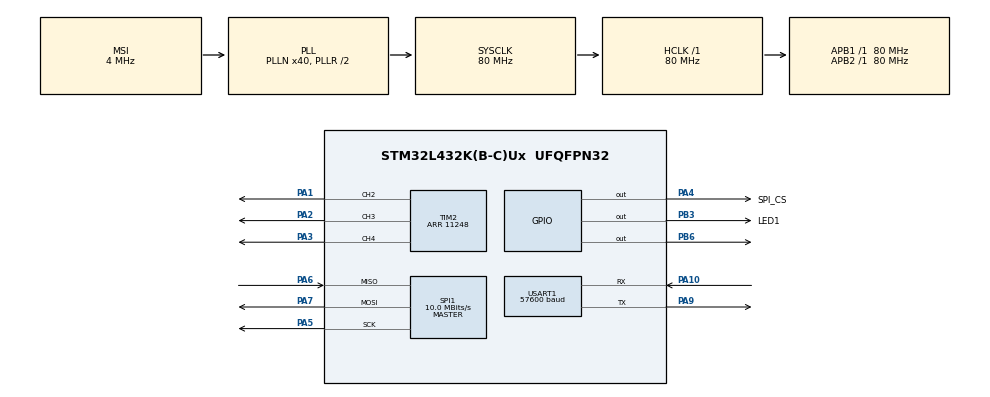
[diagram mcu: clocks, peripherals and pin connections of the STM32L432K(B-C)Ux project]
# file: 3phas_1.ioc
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Dma.Request0=USART1_RX
Dma.Request1=USART1_TX
Dma.Request2=SPI1_RX
Dma.SPI1_RX.2.Direction=DMA_PERIPH_TO_MEMORY
Dma.SPI1_RX.2.Instance=DMA1_Channel2
Dma.SPI1_RX.2.MemDataAlignment=DMA_MDATAALIGN_HALFWORD
Dma.SPI1_RX.2.MemInc=DMA_MINC_ENABLE
Dma.SPI1_RX.2.Mode=DMA_CIRCULAR
Dma.SPI1_RX.2.PeriphDataAlignment=DMA_PDATAALIGN_HALFWORD
Dma.SPI1_RX.2.PeriphInc=DMA_PINC_DISABLE
Dma.SPI1_RX.2.Priority=DMA_PRIORITY_LOW
Dma.USART1_RX.0.Direction=DMA_PERIPH_TO_MEMORY
Dma.USART1_RX.0.Instance=DMA1_Channel5
Dma.USART1_RX.0.MemDataAlignment=DMA_MDATAALIGN_BYTE
Dma.USART1_RX.0.MemInc=DMA_MINC_ENABLE
Dma.USART1_RX.0.Mode=DMA_CIRCULAR
Dma.USART1_RX.0.PeriphDataAlignment=DMA_PDATAALIGN_BYTE
Dma.USART1_RX.0.PeriphInc=DMA_PINC_DISABLE
Dma.USART1_RX.0.Priority=DMA_PRIORITY_LOW
Dma.USART1_TX.1.Direction=DMA_MEMORY_TO_PERIPH
Dma.USART1_TX.1.Instance=DMA1_Channel4
Dma.USART1_TX.1.MemDataAlignment=DMA_MDATAALIGN_BYTE
Dma.USART1_TX.1.MemInc=DMA_MINC_ENABLE
Dma.USART1_TX.1.Mode=DMA_NORMAL
Dma.USART1_TX.1.PeriphDataAlignment=DMA_PDATAALIGN_BYTE
Dma.USART1_TX.1.PeriphInc=DMA_PINC_DISABLE
Dma.USART1_TX.1.Priority=DMA_PRIORITY_LOW
FREERTOS.Tasks01=defaultTask,0,128,StartDefaultTask,Default,NULL,Dynamic,NULL,NULL;comunication,-3,128,StartTask02,Default,NULL,Dynamic,NULL,NULL
Mcu.Family=STM32L4
Mcu.Name=STM32L432K(B-C)Ux
Mcu.Package=UFQFPN32
NVIC.DMA1_Channel2_IRQn=true\:5\:0\:false\:false\:true\:true\:false
NVIC.DMA1_Channel4_IRQn=true\:5\:0\:false\:false\:true\:true\:false
NVIC.DMA1_Channel5_IRQn=true\:5\:0\:false\:false\:true\:true\:false
NVIC.PriorityGroup=NVIC_PRIORITYGROUP_4
NVIC.USART1_IRQn=true\:5\:0\:false\:false\:true\:true\:true
PA1.Signal=S_TIM2_CH2
PA10.Mode=Asynchronous
PA10.Signal=USART1_RX
PA2.Signal=S_TIM2_CH3
PA3.Signal=S_TIM2_CH4
PA4.GPIO_Label=SPI_CS
PA4.Signal=GPIO_Output
PA5.Mode=Full_Duplex_Master
PA5.Signal=SPI1_SCK
PA6.Mode=Full_Duplex_Master
PA6.Signal=SPI1_MISO
PA7.Mode=Full_Duplex_Master
PA7.Signal=SPI1_MOSI
PA9.Mode=Asynchronous
PA9.Signal=USART1_TX
PB3\ (JTDO-TRACESWO).GPIO_Label=LED1
PB3\ (JTDO-TRACESWO).Signal=GPIO_Output
PB6.Signal=GPIO_Output
ProjectManager.HeapSize=0x200
ProjectManager.StackSize=0x400
ProjectManager.TargetToolchain=TrueSTUDIO
RCC.ADCFreq_Value=16000000
RCC.AHBFreq_Value=80000000
RCC.APB1Freq_Value=80000000
RCC.APB1TimFreq_Value=80000000
RCC.APB2Freq_Value=80000000
RCC.APB2TimFreq_Value=80000000
RCC.CortexFreq_Value=80000000
RCC.HCLKFreq_Value=80000000
RCC.HSE_VALUE=8000000
RCC.HSI48_VALUE=48000000
RCC.HSI_VALUE=16000000
RCC.LSE_VALUE=32768
RCC.MSI_VALUE=4000000
RCC.PLLN=40
RCC.SYSCLKFreq_VALUE=80000000
RCC.SYSCLKSource=RCC_SYSCLKSOURCE_PLLCLK
RCC.USBFreq_Value=16000000
RCC.VCOOutputFreq_Value=160000000
SH.S_TIM2_CH2.0=TIM2_CH2,PWM Generation2 CH2
SH.S_TIM2_CH3.0=TIM2_CH3,PWM Generation3 CH3
SH.S_TIM2_CH4.0=TIM2_CH4,PWM Generation4 CH4
SPI1.BaudRatePrescaler=SPI_BAUDRATEPRESCALER_8
SPI1.CalculateBaudRate=10.0 MBits/s
SPI1.DataSize=SPI_DATASIZE_12BIT
SPI1.Direction=SPI_DIRECTION_2LINES
SPI1.Mode=SPI_MODE_MASTER
SPI1.VirtualType=VM_MASTER
TIM2.Channel-PWM\ Generation2\ CH2=TIM_CHANNEL_2
TIM2.Channel-PWM\ Generation3\ CH3=TIM_CHANNEL_3
TIM2.Channel-PWM\ Generation4\ CH4=TIM_CHANNEL_4
TIM2.CounterMode=TIM_COUNTERMODE_CENTERALIGNED2
TIM2.OCFastMode_PWM-PWM\ Generation2\ CH2=TIM_OCFAST_ENABLE
TIM2.OCFastMode_PWM-PWM\ Generation3\ CH3=TIM_OCFAST_ENABLE
TIM2.OCFastMode_PWM-PWM\ Generation4\ CH4=TIM_OCFAST_ENABLE
TIM2.Period=11248
TIM2.Pulse-PWM\ Generation3\ CH3=0
USART1.BaudRate=57600
USART1.VirtualMode-Asynchronous=VM_ASYNC
USART1.WordLength=WORDLENGTH_8B
VP_FREERTOS_VS_ENABLE.Mode=Enabled
VP_TIM2_VS_ClockSourceINT.Mode=Internal
board=3phas_1

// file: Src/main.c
/**
  ******************************************************************************
  * @file           : main.c
  * @brief          : Main program body
  ******************************************************************************
  * This notice applies to any and all portions of this file
  * that are not between comment pairs USER CODE BEGIN and
  * USER CODE END. Other portions of this file, whether
  * inserted by the user or by software development tools
  * are owned by their respective copyright owners.
  *
  * Copyright (c) 2018 STMicroelectronics International N.V.
  * All rights reserved.
  *
  * Redistribution and use in source and binary forms, with or without
  * modification, are permitted, provided that the following conditions are met:
  *
  * 1. Redistribution of source code must retain the above copyright notice,
  *    this list of conditions and the following disclaimer.
  * 2. Redistributions in binary form must reproduce the above copyright notice,
  *    this list of conditions and the following disclaimer in the documentation
  *    and/or other materials provided with the distribution.
  * 3. Neither the name of STMicroelectronics nor the names of other
  *    contributors to this software may be used to endorse or promote products
  *    derived from this software without specific written permission.
  * 4. This software, including modifications and/or derivative works of this
  *    software, must execute solely and exclusively on microcontroller or
  *    microprocessor devices manufactured by or for STMicroelectronics.
  * 5. Redistribution and use of this software other than as permitted under
  *    this license is void and will automatically terminate your rights under
  *    this license.
  *
  * THIS SOFTWARE IS PROVIDED BY STMICROELECTRONICS AND CONTRIBUTORS "AS IS"
  * AND ANY EXPRESS, IMPLIED OR STATUTORY WARRANTIES, INCLUDING, BUT NOT
  * LIMITED TO, THE IMPLIED WARRANTIES OF MERCHANTABILITY, FITNESS FOR A
  * PARTICULAR PURPOSE AND NON-INFRINGEMENT OF THIRD PARTY INTELLECTUAL PROPERTY
  * RIGHTS ARE DISCLAIMED TO THE FULLEST EXTENT PERMITTED BY LAW. IN NO EVENT
  * SHALL STMICROELECTRONICS OR CONTRIBUTORS BE LIABLE FOR ANY DIRECT, INDIRECT,
  * INCIDENTAL, SPECIAL, EXEMPLARY, OR CONSEQUENTIAL DAMAGES (INCLUDING, BUT NOT
  * LIMITED TO, PROCUREMENT OF SUBSTITUTE GOODS OR SERVICES; LOSS OF USE, DATA,
  * OR PROFITS; OR BUSINESS INTERRUPTION) HOWEVER CAUSED AND ON ANY THEORY OF
  * LIABILITY, WHETHER IN CONTRACT, STRICT LIABILITY, OR TORT (INCLUDING
  * NEGLIGENCE OR OTHERWISE) ARISING IN ANY WAY OUT OF THE USE OF THIS SOFTWARE,
  * EVEN IF ADVISED OF THE POSSIBILITY OF SUCH DAMAGE.
  *
  ******************************************************************************
  */
#include "main.h"
#include "stm32l4xx_hal.h"
#include "cmsis_os.h"

SPI_HandleTypeDef hspi1;
DMA_HandleTypeDef hdma_spi1_rx;

TIM_HandleTypeDef htim2;

UART_HandleTypeDef huart1;
DMA_HandleTypeDef hdma_usart1_rx;
DMA_HandleTypeDef hdma_usart1_tx;

osThreadId defaultTaskHandle;
osThreadId comunicationHandle;

/* USER CODE BEGIN PV */
#define UART_BUFFER 256
#define SPI_BUFFER 264
/* Private variables ---------------------------------------------------------*/
uint8_t DMA_RX_UART1_BUFFER[UART_BUFFER];
uint8_t DMA_TX_UART1_BUFFER[UART_BUFFER];
uint8_t uart_command[UART_BUFFER];
uint8_t DMA_RX_SPI1_BUFFER[SPI_BUFFER];

//sinusoidal data for 256 point
const uint16_t PWMdata[256]={
2884,2954,3025,3095,3165,3235,3305,3375,3444,3512,
3581,3648,3715,3782,3848,3914,3978,4042,4105,4168,
4229,4290,4349,4408,4466,4522,4578,4633,4686,4738,
4789,4839,4887,4934,4980,5024,5067,5109,5149,5187,
5224,5260,5294,5326,5357,5387,5414,5440,5465,5487,
5508,5528,5545,5561,5575,5588,5598,5607,5614,5614,
5614,5614,5614,5614,5614,5614,5607,5598,5588,5575,
5561,5545,5528,5508,5487,5465,5440,5414,5387,5357,
5326,5294,5260,5224,5187,5149,5109,5067,5024,4980,
4934,4887,4839,4789,4738,4686,4633,4578,4522,4466,
4408,4349,4290,4229,4168,4105,4042,3978,3914,3848,
3782,3715,3648,3581,3512,3444,3375,3305,3235,3165,
3095,3025,2954,2884,2813,2742,2672,2601,2531,2461,
2391,2321,2251,2182,2114,2045,1978,1911,1844,1778,
1712,1648,1584,1521,1458,1397,1336,1277,1218,1160,
1104,1048,993 ,940 ,888 ,837 ,787 ,739 ,692 ,646 ,
602 ,559 ,517 ,477 ,439 ,402 ,366 ,332 ,300 ,269 ,
239 ,212 ,186 ,161 ,139 ,118 ,98 ,81 ,65 ,51 ,
38 ,28 ,19 ,12 ,10 ,10 ,10 ,10 ,10 ,10 ,
12 ,19 ,28 ,38 ,51 ,65 ,81 ,98 ,118 ,139 ,
161 ,186 ,212 ,239 ,269 ,300 ,332 ,366 ,402 ,439 ,
477 ,517 ,559 ,602 ,646 ,692 ,739 ,787 ,837 ,888 ,
940 ,993 ,1048,1104,1160,1218,1277,1336,1397,1458,
1521,1584,1648,1712,1778,1844,1911,1978,2045,2114,
2182,2251,2321,2391,2461,2531,2601,2672,2742,2813,
2884,2954,3025,3095,3165,3235,
};

const uint16_t PWMdata2[256]={
2812, 2882, 2952, 3022, 3093, 3163, 3232, 3302, 3371, 3440, 3508, 3576, 3644, 3711, 3777, 3843, 3908, 3972, 4036, 4099, 4161, 4223, 4283, 4343, 4401,
4459, 4515, 4571, 4625, 4678, 4730, 4781, 4831, 4879, 4926, 4972, 5016, 5059, 5101, 5141, 5180, 5217, 5253, 5287, 5319, 5350, 5380, 5408, 5434, 5459,
5481, 5503, 5522, 5540, 5556, 5571, 5583, 5594, 5604, 5611, 5617, 5621, 5623, 5623, 5622, 5619, 5614, 5608, 5599, 5589, 5577, 5564, 5548, 5531, 5513,
5492, 5470, 5446, 5421, 5394, 5365, 5335, 5303, 5270, 5235, 5198, 5161, 5121, 5080, 5038, 4994, 4949, 4903, 4855, 4806, 4756, 4704, 4652, 4598, 4543,
4487, 4430, 4372, 4313, 4253, 4192, 4130, 4068, 4004, 3940, 3875, 3810, 3744, 3677, 3610, 3542, 3474, 3405, 3336, 3267, 3197, 3128, 3058, 2987, 2917,
2847, 2776, 2706, 2636, 2565, 2495, 2426, 2356, 2287, 2218, 2149, 2081, 2013, 1946, 1879, 1813, 1748, 1683, 1619, 1555, 1493, 1431, 1370, 1310, 1251,
1193, 1136, 1080, 1025, 971, 919, 867, 817, 768, 720, 674, 629, 585, 543, 502, 462, 425, 388, 353, 320, 288, 258, 229, 202, 177, 153, 131, 110, 92,
75, 59, 46, 34, 24, 15, 9, 4, 1, 0, 0, 2, 6, 12, 19, 29, 40, 52, 67, 83, 101, 120, 142, 164, 189, 215, 243, 273, 304, 336, 370, 406, 443, 482, 522,
564, 607, 651, 697, 744, 792, 842, 893, 945, 998, 1052, 1108, 1164, 1222, 1280, 1340, 1400, 1462, 1524, 1587, 1651, 1715, 1780, 1846, 1912, 1979, 2047,
2115, 2183, 2252, 2321, 2391, 2460, 2530, 2601, 2671, 2741, 2812};

/* USER CODE END PV */

void SystemClock_Config(void);
static void MX_GPIO_Init(void);
static void MX_DMA_Init(void);
static void MX_TIM2_Init(void);
static void MX_USART1_UART_Init(void);
static void MX_SPI1_Init(void);
void StartDefaultTask(void const * argument);
void StartTask02(void const * argument);

void HAL_TIM_MspPostInit(TIM_HandleTypeDef *htim);

/* USER CODE BEGIN PFP */
/* Private function prototypes -----------------------------------------------*/
void TransmitOnUart(uint8_t *message, uint8_t lenght);
/* USER CODE END PFP */

int main(void)
{

  /* MCU Configuration----------------------------------------------------------*/

  /* Reset of all peripherals, Initializes the Flash interface and the Systick. */
  HAL_Init();

  /* Configure the system clock */
  SystemClock_Config();

  /* Initialize all configured peripherals */
  MX_GPIO_Init();
  MX_DMA_Init();
  MX_TIM2_Init();
  MX_USART1_UART_Init();
  MX_SPI1_Init();
  /* USER CODE BEGIN 2 */
  HAL_UART_Receive_DMA(&huart1, DMA_RX_UART1_BUFFER, UART_BUFFER);
  HAL_SPI_Receive_DMA(&hspi1, DMA_RX_SPI1_BUFFER, SPI_BUFFER);

  HAL_TIM_Base_Start(&htim2);
  HAL_TIM_PWM_Start(&htim2, TIM_CHANNEL_4);
  HAL_TIM_PWM_Start(&htim2, TIM_CHANNEL_2);
  HAL_TIM_PWM_Start(&htim2, TIM_CHANNEL_3);

  HAL_GPIO_WritePin(SPI_CS_GPIO_Port, SPI_CS_Pin, GPIO_PIN_RESET);
  /* USER CODE END 2 */

  /* Create the thread(s) */
  /* definition and creation of defaultTask */
  osThreadDef(defaultTask, StartDefaultTask, osPriorityNormal, 0, 128);
  defaultTaskHandle = osThreadCreate(osThread(defaultTask), NULL);

  /* definition and creation of comunication */
  osThreadDef(comunication, StartTask02, osPriorityIdle, 0, 128);
  comunicationHandle = osThreadCreate(osThread(comunication), NULL);

  /* Start scheduler */
  osKernelStart();

  /* We should never get here as control is now taken by the scheduler */

  /* Infinite loop */
  while (1)
  {

  }

}

void SystemClock_Config(void)
{

  RCC_OscInitTypeDef RCC_OscInitStruct;
  RCC_ClkInitTypeDef RCC_ClkInitStruct;
  RCC_PeriphCLKInitTypeDef PeriphClkInit;

    /**Initializes the CPU, AHB and APB busses clocks
    */
  RCC_OscInitStruct.OscillatorType = RCC_OSCILLATORTYPE_MSI;
  RCC_OscInitStruct.MSIState = RCC_MSI_ON;
  RCC_OscInitStruct.MSICalibrationValue = 0;
  RCC_OscInitStruct.MSIClockRange = RCC_MSIRANGE_6;
  RCC_OscInitStruct.PLL.PLLState = RCC_PLL_ON;
  RCC_OscInitStruct.PLL.PLLSource = RCC_PLLSOURCE_MSI;
  RCC_OscInitStruct.PLL.PLLN = 40;
  RCC_OscInitStruct.PLL.PLLP = RCC_PLLP_DIV7;
  RCC_OscInitStruct.PLL.PLLQ = RCC_PLLQ_DIV2;
  RCC_OscInitStruct.PLL.PLLR = RCC_PLLR_DIV2;
  if (HAL_RCC_OscConfig(&RCC_OscInitStruct) != HAL_OK)
  {
    _Error_Handler(__FILE__, __LINE__);
  }

    /**Initializes the CPU, AHB and APB busses clocks
    */
  RCC_ClkInitStruct.ClockType = RCC_CLOCKTYPE_HCLK|RCC_CLOCKTYPE_SYSCLK
                              |RCC_CLOCKTYPE_PCLK1|RCC_CLOCKTYPE_PCLK2;
  RCC_ClkInitStruct.SYSCLKSource = RCC_SYSCLKSOURCE_PLLCLK;
  RCC_ClkInitStruct.AHBCLKDivider = RCC_SYSCLK_DIV1;
  RCC_ClkInitStruct.APB1CLKDivider = RCC_HCLK_DIV1;
  RCC_ClkInitStruct.APB2CLKDivider = RCC_HCLK_DIV1;

  if (HAL_RCC_ClockConfig(&RCC_ClkInitStruct, FLASH_LATENCY_4) != HAL_OK)
  {
    _Error_Handler(__FILE__, __LINE__);
  }

  PeriphClkInit.PeriphClockSelection = RCC_PERIPHCLK_USART1;
  PeriphClkInit.Usart1ClockSelection = RCC_USART1CLKSOURCE_PCLK2;
  if (HAL_RCCEx_PeriphCLKConfig(&PeriphClkInit) != HAL_OK)
  {
    _Error_Handler(__FILE__, __LINE__);
  }

    /**Configure the main internal regulator output voltage
    */
  if (HAL_PWREx_ControlVoltageScaling(PWR_REGULATOR_VOLTAGE_SCALE1) != HAL_OK)
  {
    _Error_Handler(__FILE__, __LINE__);
  }

    /**Configure the Systick interrupt time
    */
  HAL_SYSTICK_Config(HAL_RCC_GetHCLKFreq()/1000);

    /**Configure the Systick
    */
  HAL_SYSTICK_CLKSourceConfig(SYSTICK_CLKSOURCE_HCLK);

  /* SysTick_IRQn interrupt configuration */
  HAL_NVIC_SetPriority(SysTick_IRQn, 15, 0);
}

/* SPI1 init function */
static void MX_SPI1_Init(void)
{

  /* SPI1 parameter configuration*/
  hspi1.Instance = SPI1;
  hspi1.Init.Mode = SPI_MODE_MASTER;
  hspi1.Init.Direction = SPI_DIRECTION_2LINES;
  hspi1.Init.DataSize = SPI_DATASIZE_12BIT;
  hspi1.Init.CLKPolarity = SPI_POLARITY_LOW;
  hspi1.Init.CLKPhase = SPI_PHASE_1EDGE;
  hspi1.Init.NSS = SPI_NSS_SOFT;
  hspi1.Init.BaudRatePrescaler = SPI_BAUDRATEPRESCALER_8;
  hspi1.Init.FirstBit = SPI_FIRSTBIT_MSB;
  hspi1.Init.TIMode = SPI_TIMODE_DISABLE;
  hspi1.Init.CRCCalculation = SPI_CRCCALCULATION_DISABLE;
  hspi1.Init.CRCPolynomial = 7;
  hspi1.Init.CRCLength = SPI_CRC_LENGTH_DATASIZE;
  hspi1.Init.NSSPMode = SPI_NSS_PULSE_ENABLE;
  if (HAL_SPI_Init(&hspi1) != HAL_OK)
  {
    _Error_Handler(__FILE__, __LINE__);
  }

}

/* TIM2 init function */
static void MX_TIM2_Init(void)
{

  TIM_ClockConfigTypeDef sClockSourceConfig;
  TIM_MasterConfigTypeDef sMasterConfig;
  TIM_OC_InitTypeDef sConfigOC;

  htim2.Instance = TIM2;
  htim2.Init.Prescaler = 0;
  htim2.Init.CounterMode = TIM_COUNTERMODE_CENTERALIGNED2;
  htim2.Init.Period = 11248;
  htim2.Init.ClockDivision = TIM_CLOCKDIVISION_DIV1;
  htim2.Init.AutoReloadPreload = TIM_AUTORELOAD_PRELOAD_DISABLE;
  if (HAL_TIM_Base_Init(&htim2) != HAL_OK)
  {
    _Error_Handler(__FILE__, __LINE__);
  }

  sClockSourceConfig.ClockSource = TIM_CLOCKSOURCE_INTERNAL;
  if (HAL_TIM_ConfigClockSource(&htim2, &sClockSourceConfig) != HAL_OK)
  {
    _Error_Handler(__FILE__, __LINE__);
  }

  if (HAL_TIM_PWM_Init(&htim2) != HAL_OK)
  {
    _Error_Handler(__FILE__, __LINE__);
  }

  sMasterConfig.MasterOutputTrigger = TIM_TRGO_RESET;
  sMasterConfig.MasterSlaveMode = TIM_MASTERSLAVEMODE_DISABLE;
  if (HAL_TIMEx_MasterConfigSynchronization(&htim2, &sMasterConfig) != HAL_OK)
  {
    _Error_Handler(__FILE__, __LINE__);
  }

  sConfigOC.OCMode = TIM_OCMODE_PWM1;
  sConfigOC.Pulse = 0;
  sConfigOC.OCPolarity = TIM_OCPOLARITY_HIGH;
  sConfigOC.OCFastMode = TIM_OCFAST_ENABLE;
  if (HAL_TIM_PWM_ConfigChannel(&htim2, &sConfigOC, TIM_CHANNEL_2) != HAL_OK)
  {
    _Error_Handler(__FILE__, __LINE__);
  }

  if (HAL_TIM_PWM_ConfigChannel(&htim2, &sConfigOC, TIM_CHANNEL_3) != HAL_OK)
  {
    _Error_Handler(__FILE__, __LINE__);
  }

  if (HAL_TIM_PWM_ConfigChannel(&htim2, &sConfigOC, TIM_CHANNEL_4) != HAL_OK)
  {
    _Error_Handler(__FILE__, __LINE__);
  }

  HAL_TIM_MspPostInit(&htim2);

}

/* USART1 init function */
static void MX_USART1_UART_Init(void)
{

  huart1.Instance = USART1;
  huart1.Init.BaudRate = 57600;
  huart1.Init.WordLength = UART_WORDLENGTH_8B;
  huart1.Init.StopBits = UART_STOPBITS_1;
  huart1.Init.Parity = UART_PARITY_NONE;
  huart1.Init.Mode = UART_MODE_TX_RX;
  huart1.Init.HwFlowCtl = UART_HWCONTROL_NONE;
  huart1.Init.OverSampling = UART_OVERSAMPLING_16;
  huart1.Init.OneBitSampling = UART_ONE_BIT_SAMPLE_DISABLE;
  huart1.AdvancedInit.AdvFeatureInit = UART_ADVFEATURE_NO_INIT;
  if (HAL_UART_Init(&huart1) != HAL_OK)
  {
    _Error_Handler(__FILE__, __LINE__);
  }

}

static void MX_DMA_Init(void)
{
  /* DMA controller clock enable */
  __HAL_RCC_DMA1_CLK_ENABLE();

  /* DMA interrupt init */
  /* DMA1_Channel2_IRQn interrupt configuration */
  HAL_NVIC_SetPriority(DMA1_Channel2_IRQn, 5, 0);
  HAL_NVIC_EnableIRQ(DMA1_Channel2_IRQn);
  /* DMA1_Channel4_IRQn interrupt configuration */
  HAL_NVIC_SetPriority(DMA1_Channel4_IRQn, 5, 0);
  HAL_NVIC_EnableIRQ(DMA1_Channel4_IRQn);
  /* DMA1_Channel5_IRQn interrupt configuration */
  HAL_NVIC_SetPriority(DMA1_Channel5_IRQn, 5, 0);
  HAL_NVIC_EnableIRQ(DMA1_Channel5_IRQn);

}

/** Configure pins as
        * Analog
        * Input
        * Output
        * EVENT_OUT
        * EXTI
*/
static void MX_GPIO_Init(void)
{

  GPIO_InitTypeDef GPIO_InitStruct;

  /* GPIO Ports Clock Enable */
  __HAL_RCC_GPIOA_CLK_ENABLE();
  __HAL_RCC_GPIOB_CLK_ENABLE();

  /*Configure GPIO pin Output Level */
  HAL_GPIO_WritePin(SPI_CS_GPIO_Port, SPI_CS_Pin, GPIO_PIN_RESET);

  /*Configure GPIO pin Output Level */
  HAL_GPIO_WritePin(GPIOB, LED1_Pin|GPIO_PIN_6, GPIO_PIN_RESET);

  /*Configure GPIO pin : SPI_CS_Pin */
  GPIO_InitStruct.Pin = SPI_CS_Pin;
  GPIO_InitStruct.Mode = GPIO_MODE_OUTPUT_PP;
  GPIO_InitStruct.Pull = GPIO_NOPULL;
  GPIO_InitStruct.Speed = GPIO_SPEED_FREQ_LOW;
  HAL_GPIO_Init(SPI_CS_GPIO_Port, &GPIO_InitStruct);

  /*Configure GPIO pins : LED1_Pin PB6 */
  GPIO_InitStruct.Pin = LED1_Pin|GPIO_PIN_6;
  GPIO_InitStruct.Mode = GPIO_MODE_OUTPUT_PP;
  GPIO_InitStruct.Pull = GPIO_NOPULL;
  GPIO_InitStruct.Speed = GPIO_SPEED_FREQ_LOW;
  HAL_GPIO_Init(GPIOB, &GPIO_InitStruct);

}

/* USER CODE BEGIN 4 */

void TransmitOnUart(uint8_t *message,uint8_t lenght )
{
	for (int i = 0; i < lenght;i++){
		DMA_TX_UART1_BUFFER[i] = message[i];
	}
	DMA_TX_UART1_BUFFER[lenght] = 0x0d;
	DMA_TX_UART1_BUFFER[lenght+1] = 0x0a;
	HAL_UART_Transmit_DMA(&huart1,DMA_TX_UART1_BUFFER, lenght+2);
}

/* USER CODE END 4 */

/* StartDefaultTask function */
void StartDefaultTask(void const * argument)
{

  /* USER CODE BEGIN 5 */

	// index for each phase (120 degrees apart)
	int i = 0;
	int v = 84;
	int s = 168;

	/* Infinite loop */
  for(;;)
  {
    osDelay(1);

	HAL_GPIO_TogglePin(GPIOB, LED1_Pin);

	for (int j = 0; j <= 5000; j++) {
	}

	htim2.Instance->CCR4 = PWMdata2[s] / 37;
	htim2.Instance->CCR2 = PWMdata2[v] / 37;
	htim2.Instance->CCR3 = PWMdata2[i] / 37;

	//__HAL_TIM_SET_COMPARE(&htim2, TIM_CHANNEL_4, PWMdata[s]);
	//__HAL_TIM_SET_COMPARE(&htim2, TIM_CHANNEL_2, PWMdata[v]);
	//__HAL_TIM_SET_COMPARE(&htim2, TIM_CHANNEL_3, PWMdata[i]);
	i++;
	v++;
	s++;
	if (i == 251) {
		i = 0;
	}
	if (v == 251) {
		v = 0;
	}
	if (s == 251) {
		s = 0;

	}
  }
  /* USER CODE END 5 */
}

/* StartTask02 function */
void StartTask02(void const * argument)
{
  /* USER CODE BEGIN StartTask02 */
	uint16_t bytesRx;
	uint16_t offsetByte = 0;
	uint16_t lastByteRx = UART_BUFFER;
	uint8_t uart_command_length = 0;

  /* Infinite loop */
  for(;;)
  {
    osDelay(1);

    // Check if there is any new data received on uart
    bytesRx = DMA1_Channel5->CNDTR;
	if (DMA_RX_UART1_BUFFER[UART_BUFFER - bytesRx - 1] == 0x0D
			|| DMA_RX_UART1_BUFFER[UART_BUFFER - bytesRx] == 0x0D
			|| DMA_RX_UART1_BUFFER[UART_BUFFER - 1] == 0x0D) {

		if (lastByteRx < bytesRx) {
			for (int i = 0; i <= UART_BUFFER - offsetByte; i++) {
				uart_command[i] = DMA_RX_UART1_BUFFER[offsetByte + i];
			}
			offsetByte = 0;
		}
		for (int i = 0; i < UART_BUFFER - bytesRx; i++) {
			uart_command[i] = DMA_RX_UART1_BUFFER[offsetByte + i];
		}
	}

	memset(DMA_RX_UART1_BUFFER, '\0', UART_BUFFER);
	offsetByte = UART_BUFFER - bytesRx;

	if (!strncmp((const char *) uart_command, "hey", 3)) {
		uint8_t message[5] = "hello";
		uint8_t lenght = sizeof(message)/sizeof(message[0]);
		TransmitOnUart(message, lenght);
	}
	uart_command[uart_command_length] = 0;
	uart_command_length = 0;
  }
  /* USER CODE END StartTask02 */
}

void _Error_Handler(char *file, int line)
{
  while(1)
  {
  }
}

/************************ (C) COPYRIGHT STMicroelectronics *****END OF FILE****/
